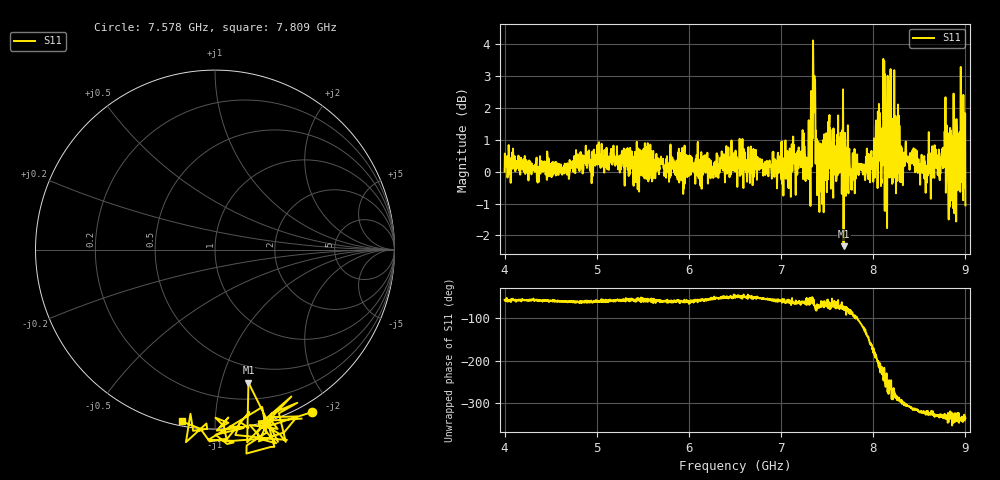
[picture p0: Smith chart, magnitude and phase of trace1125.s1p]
! Created with skrf 1.8.0 (http://scikit-rf.org).
# Hz S RI R 50.0
!freq ReS11 ImS11
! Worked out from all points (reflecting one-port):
!   1601 points, 4 GHz to 9 GHz, reference 50 ohm
!   lowest |S11| = -2.3 dB at 7.678 GHz (marker M1), VSWR 7.49, Z = 17.2 - j61.2 ohm
!   phase of S11 starts at -57 deg and turns -277 deg over the sweep
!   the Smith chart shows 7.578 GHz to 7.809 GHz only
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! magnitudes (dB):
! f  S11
! 4 GHz  0.0
! 4.625 GHz  -0.1
! 5.25 GHz  0.0
! 5.875 GHz  0.0
! 6.5 GHz  0.2
! 7.125 GHz  0.4
! 7.294 GHz  -0.2
! 7.347 GHz  4.1
! 7.369 GHz  2.9
! 7.397 GHz  -0.2
! 7.412 GHz  -0.7
! 7.509 GHz  -0.1
! 7.559 GHz  1.3
! 7.678 GHz  -2.3
! 7.75 GHz  -0.1
! 7.981 GHz  0.6
! 8.05 GHz  1.9
! 8.081 GHz  1.2
! 8.122 GHz  0.8
! 8.312 GHz  0.7
! 8.375 GHz  0.4
! 8.566 GHz  0.0
! 8.722 GHz  -0.3
! 8.784 GHz  2.3
! 8.841 GHz  1.3
! 8.953 GHz  -0.3
! 8.972 GHz  0.4
! 9 GHz  -1.1
